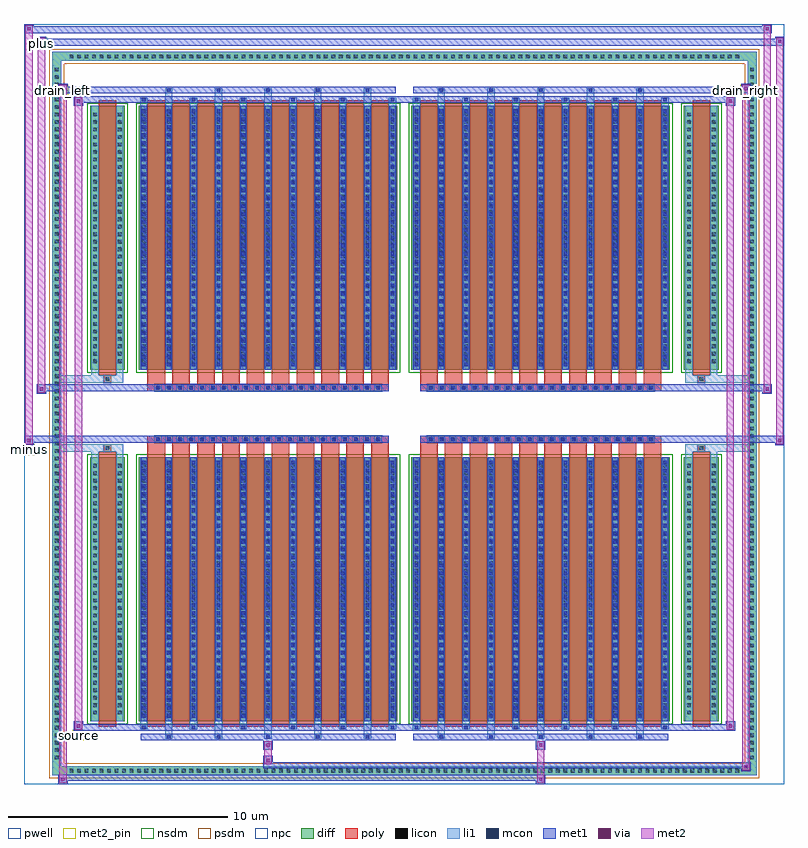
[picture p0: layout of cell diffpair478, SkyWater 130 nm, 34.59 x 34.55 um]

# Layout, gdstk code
import gdstk
lib = gdstk.Library(unit=1e-6, precision=5e-09)
def R(c, l, rs):  # rectangles x0, y0, x1, y1
    for r in rs: c.add(gdstk.rectangle(r[:2], r[2:], *l))
def A(c, l, x, y, w, h, nx, ny, dx, dy):  # array of equal rectangles
    R(c, l, [(x+i*dx, y+j*dy, x+i*dx+w, y+j*dy+h) for i in range(nx) for j in range(ny)])
def P(c, l, *ps):  # polygons
    for p in ps: c.add(gdstk.Polygon(p, *l))
pwell = (64, 44)
diff = (65, 20)
poly = (66, 20)
licon = (66, 44)
li1 = (67, 20)
mcon = (67, 44)
met1 = (68, 20)
via = (68, 44)
met2_pin = (69, 16)
met2 = (69, 20)
nsdm = (93, 44)
psdm = (94, 20)
npc = (95, 20)

diffpair478 = lib.new_cell('diffpair478')
R(diffpair478, pwell, [(-17.28,-16.84,17.28,17.71), (-14.6,-15.03,-0.01,-0.805), (0.01,-15.03,14.6,-0.805), (-14.6,0.805,-0.01,15.03), (0.01,0.805,14.6,15.03)])
A(diffpair478, diff, -15.335, -16.44, 0.41, 0.41, 90, 2, 0.34, 32.47)
A(diffpair478, diff, -16.01, -15.845, 0.41, 0.41, 1, 93, 0, 0.34)
A(diffpair478, diff, 15.6, -15.845, 0.41, 0.41, 1, 93, 0, 0.34)
R(diffpair478, diff, [(-15.335,-16.44,15.335,-16.03), (-16.01,-15.845,-15.6,15.845), (15.6,-15.845,16.01,15.845), (-14.29,-13.985,-12.71,-1.985), (-12.07,-13.985,-0.32,-1.985), (0.32,-13.985,12.07,-1.985), (12.71,-13.985,14.29,-1.985), (-14.29,1.985,-12.71,13.985), (-12.07,1.985,-0.32,13.985), (0.32,1.985,12.07,13.985), (12.71,1.985,14.29,13.985), (-15.335,16.03,15.335,16.44)])
P(diffpair478, diff, [(16.01,16.44),(-16.01,16.44),(-16.01,-16.03),(-15.6,-16.03),(-15.6,16.03),(15.6,16.03),(15.6,-16.03),(-15.6,-16.03),(-16.01,-16.03),(-16.01,-16.44),(16.01,-16.44)])
A(diffpair478, poly, -11.68, -14.235, 0.8, 12.5, 10, 2, 1.13, 15.97)
A(diffpair478, poly, 0.71, -14.235, 0.8, 12.5, 10, 2, 1.13, 15.97)
A(diffpair478, poly, -11.68, -1.735, 0.8, 0.4, 10, 2, 1.13, 3.07)
A(diffpair478, poly, 0.71, -1.735, 0.8, 0.4, 10, 2, 1.13, 3.07)
A(diffpair478, poly, -11.36, -1.335, 0.33, 0.33, 21, 2, 0.5, 2.34)
A(diffpair478, poly, 1.03, -1.335, 0.33, 0.33, 21, 2, 0.5, 2.34)
R(diffpair478, poly, [(-13.9,-14.235,-13.1,-1.735), (13.1,-14.235,13.9,-1.735), (-13.665,-1.735,-13.335,-1.405), (-13.665,-1.735,-13.335,-1.405), (13.335,-1.735,13.665,-1.405), (13.335,-1.735,13.665,-1.405), (-11.68,-1.335,-0.71,-1.005), (0.71,-1.335,11.68,-1.005), (-11.68,1.005,-0.71,1.335), (0.71,1.005,11.68,1.335), (-13.665,1.405,-13.335,1.735), (-13.665,1.405,-13.335,1.735), (13.335,1.405,13.665,1.735), (13.335,1.405,13.665,1.735), (-13.9,1.735,-13.1,14.235), (13.1,1.735,13.9,14.235)])
A(diffpair478, licon, -15.215, -16.32, 0.17, 0.17, 90, 2, 0.34, 32.47)
A(diffpair478, licon, -15.89, -15.725, 0.17, 0.17, 1, 93, 0, 0.34)
A(diffpair478, licon, 15.72, -15.725, 0.17, 0.17, 1, 93, 0, 0.34)
A(diffpair478, licon, -14.15, -13.68, 0.17, 0.17, 1, 34, 0, 0.34)
A(diffpair478, licon, -13.02, -13.68, 0.17, 0.17, 1, 34, 0, 0.34)
A(diffpair478, licon, -11.93, -13.68, 0.17, 0.17, 11, 34, 1.13, 0.34)
A(diffpair478, licon, 0.46, -13.68, 0.17, 0.17, 11, 34, 1.13, 0.34)
A(diffpair478, licon, 12.85, -13.68, 0.17, 0.17, 1, 34, 0, 0.34)
A(diffpair478, licon, 13.98, -13.68, 0.17, 0.17, 1, 34, 0, 0.34)
A(diffpair478, licon, -11.28, -1.255, 0.17, 0.17, 21, 2, 0.5, 2.34)
A(diffpair478, licon, 1.11, -1.255, 0.17, 0.17, 21, 2, 0.5, 2.34)
A(diffpair478, licon, -14.15, 2.29, 0.17, 0.17, 1, 34, 0, 0.34)
A(diffpair478, licon, -13.02, 2.29, 0.17, 0.17, 1, 34, 0, 0.34)
A(diffpair478, licon, -11.93, 2.29, 0.17, 0.17, 11, 34, 1.13, 0.34)
A(diffpair478, licon, 0.46, 2.29, 0.17, 0.17, 11, 34, 1.13, 0.34)
A(diffpair478, licon, 12.85, 2.29, 0.17, 0.17, 1, 34, 0, 0.34)
A(diffpair478, licon, 13.98, 2.29, 0.17, 0.17, 1, 34, 0, 0.34)
R(diffpair478, licon, [(-13.585,-1.655,-13.415,-1.485), (13.415,-1.655,13.585,-1.485), (-13.585,1.485,-13.415,1.655), (13.415,1.485,13.585,1.655)])
A(diffpair478, li1, -15.295, -16.4, 0.33, 0.33, 90, 2, 0.34, 32.47)
A(diffpair478, li1, -15.97, -15.805, 0.33, 0.33, 1, 93, 0, 0.34)
A(diffpair478, li1, 15.64, -15.805, 0.33, 0.33, 1, 93, 0, 0.34)
A(diffpair478, li1, -10.88, -14.79, 0.33, 0.805, 5, 2, 2.26, 28.775)
A(diffpair478, li1, -10.8, -14.79, 0.17, 0.17, 5, 2, 2.26, 29.41)
A(diffpair478, li1, 1.51, -14.79, 0.33, 0.805, 5, 2, 2.26, 28.775)
A(diffpair478, li1, 1.59, -14.79, 0.17, 0.17, 5, 2, 2.26, 29.41)
A(diffpair478, li1, -12.01, -14.36, 0.33, 0.375, 6, 2, 2.26, 28.345)
A(diffpair478, li1, -11.93, -14.36, 0.17, 0.17, 6, 2, 2.26, 28.55)
A(diffpair478, li1, 0.38, -14.36, 0.33, 0.375, 6, 2, 2.26, 28.345)
A(diffpair478, li1, 0.46, -14.36, 0.17, 0.17, 6, 2, 2.26, 28.55)
A(diffpair478, li1, -12.01, -13.985, 0.33, 12, 11, 2, 1.13, 15.97)
A(diffpair478, li1, 0.38, -13.985, 0.33, 12, 11, 2, 1.13, 15.97)
A(diffpair478, li1, -11.93, -13.83, 0.17, 0.17, 11, 33, 1.13, 0.36)
A(diffpair478, li1, -11.93, -13.83, 0.17, 11.69, 11, 2, 1.13, 15.97)
A(diffpair478, li1, 0.46, -13.83, 0.17, 0.17, 11, 33, 1.13, 0.36)
A(diffpair478, li1, 0.46, -13.83, 0.17, 11.69, 11, 2, 1.13, 15.97)
A(diffpair478, li1, -14.23, -13.76, 0.33, 0.33, 1, 34, 0, 0.34)
A(diffpair478, li1, -13.1, -13.76, 0.33, 0.33, 1, 34, 0, 0.34)
A(diffpair478, li1, -12.01, -13.76, 0.33, 0.33, 11, 34, 1.13, 0.34)
A(diffpair478, li1, 0.38, -13.76, 0.33, 0.33, 11, 34, 1.13, 0.34)
A(diffpair478, li1, 12.77, -13.76, 0.33, 0.33, 1, 34, 0, 0.34)
A(diffpair478, li1, 13.9, -13.76, 0.33, 0.33, 1, 34, 0, 0.34)
A(diffpair478, li1, -11.36, -1.335, 0.33, 0.33, 21, 2, 0.5, 2.34)
A(diffpair478, li1, 1.03, -1.335, 0.33, 0.33, 21, 2, 0.5, 2.34)
A(diffpair478, li1, -11.93, 2.14, 0.17, 0.17, 11, 33, 1.13, 0.36)
A(diffpair478, li1, 0.46, 2.14, 0.17, 0.17, 11, 33, 1.13, 0.36)
A(diffpair478, li1, -14.23, 2.21, 0.33, 0.33, 1, 34, 0, 0.34)
A(diffpair478, li1, -13.1, 2.21, 0.33, 0.33, 1, 34, 0, 0.34)
A(diffpair478, li1, -12.01, 2.21, 0.33, 0.33, 11, 34, 1.13, 0.34)
A(diffpair478, li1, 0.38, 2.21, 0.33, 0.33, 11, 34, 1.13, 0.34)
A(diffpair478, li1, 12.77, 2.21, 0.33, 0.33, 1, 34, 0, 0.34)
A(diffpair478, li1, 13.9, 2.21, 0.33, 0.33, 1, 34, 0, 0.34)
R(diffpair478, li1, [(-16.01,-16.44,-15.6,-16.03), (-16.01,-16.44,-15.6,-16.03), (-15.6,-16.44,15.6,-16.03), (15.6,-16.44,16.01,-16.03), (15.6,-16.44,16.01,-16.03), (-16.01,-16.03,-15.6,16.03), (15.6,-16.03,16.01,16.03), (-14.23,-13.985,-13.9,-1.985), (-13.1,-13.985,-12.77,-1.985), (12.77,-13.985,13.1,-1.985), (13.9,-13.985,14.23,-1.985), (-14.23,-1.985,-13.9,-1.405), (-13.1,-1.985,-12.77,-1.405), (12.77,-1.985,13.1,-1.405), (13.9,-1.985,14.23,-1.405), (-16.01,-1.735,-13.665,-1.405), (-14.23,-1.735,-13.665,-1.405), (-13.665,-1.735,-13.335,-1.405), (-13.335,-1.735,-12.77,-1.405), (12.77,-1.735,13.335,-1.405), (13.335,-1.735,13.665,-1.405), (13.335,-1.735,16.01,-1.405), (13.665,-1.735,14.23,-1.405), (-16.01,1.405,-13.665,1.735), (-14.23,1.405,-13.665,1.735), (-14.23,1.405,-13.9,1.985), (-13.665,1.405,-13.335,1.735), (-13.335,1.405,-12.77,1.735), (-13.1,1.405,-12.77,1.985), (12.77,1.405,13.335,1.735), (12.77,1.405,13.1,1.985), (13.335,1.405,13.665,1.735), (13.335,1.405,16.01,1.735), (13.665,1.405,14.23,1.735), (13.9,1.405,14.23,1.985), (-14.23,1.985,-13.9,13.985), (-13.1,1.985,-12.77,13.985), (12.77,1.985,13.1,13.985), (13.9,1.985,14.23,13.985), (-16.01,16.03,-15.6,16.44), (-16.01,16.03,-15.6,16.44), (-15.6,16.03,15.6,16.44), (15.6,16.03,16.01,16.44), (15.6,16.03,16.01,16.44)])
A(diffpair478, mcon, -10.8, -14.79, 0.17, 0.17, 5, 2, 2.26, 29.41)
A(diffpair478, mcon, 1.59, -14.79, 0.17, 0.17, 5, 2, 2.26, 29.41)
A(diffpair478, mcon, -11.93, -14.36, 0.17, 0.17, 6, 2, 2.26, 28.55)
A(diffpair478, mcon, 0.46, -14.36, 0.17, 0.17, 6, 2, 2.26, 28.55)
A(diffpair478, mcon, -11.93, -13.83, 0.17, 0.17, 11, 33, 1.13, 0.36)
A(diffpair478, mcon, 0.46, -13.83, 0.17, 0.17, 11, 33, 1.13, 0.36)
A(diffpair478, mcon, -11.28, -1.255, 0.17, 0.17, 21, 2, 0.5, 2.34)
A(diffpair478, mcon, 1.11, -1.255, 0.17, 0.17, 21, 2, 0.5, 2.34)
A(diffpair478, mcon, -11.93, 2.14, 0.17, 0.17, 11, 33, 1.13, 0.36)
A(diffpair478, mcon, 0.46, 2.14, 0.17, 0.17, 11, 33, 1.13, 0.36)
A(diffpair478, met1, -10.86, -14.85, 0.29, 0.29, 5, 2, 2.26, 29.41)
A(diffpair478, met1, 1.53, -14.85, 0.29, 0.29, 5, 2, 2.26, 29.41)
A(diffpair478, met1, -11.99, -14.42, 0.29, 0.29, 6, 2, 2.26, 28.55)
A(diffpair478, met1, 0.4, -14.42, 0.29, 0.29, 6, 2, 2.26, 28.55)
A(diffpair478, met1, -11.99, -13.985, 0.29, 12, 11, 2, 1.13, 15.97)
A(diffpair478, met1, 0.4, -13.985, 0.29, 12, 11, 2, 1.13, 15.97)
A(diffpair478, met1, -11.99, -13.89, 0.29, 0.29, 11, 33, 1.13, 0.36)
A(diffpair478, met1, 0.4, -13.89, 0.29, 0.29, 11, 33, 1.13, 0.36)
A(diffpair478, met1, -11.34, -1.315, 0.29, 0.29, 21, 2, 0.5, 2.34)
A(diffpair478, met1, 1.05, -1.315, 0.29, 0.29, 21, 2, 0.5, 2.34)
A(diffpair478, met1, -11.99, 2.08, 0.29, 0.29, 11, 33, 1.13, 0.36)
A(diffpair478, met1, 0.4, 2.08, 0.29, 0.29, 11, 33, 1.13, 0.36)
R(diffpair478, met1, [(-15.74,-16.84,-15.31,-16.41), (5.98,-16.84,6.41,-16.41), (-15.74,-16.7,6.41,-16.41), (15.31,-16.27,15.74,-15.84), (-6.41,-16.13,15.74,-15.84), (-6.41,-15.99,-5.98,-15.56), (-6.41,-15.28,-5.98,-14.85), (5.98,-15.28,6.41,-14.85), (-11.99,-14.85,-0.4,-14.56), (0.4,-14.85,11.99,-14.56), (-15.03,-14.42,-14.6,-13.99), (-15.03,-14.42,-11.99,-14.13), (-11.99,-14.42,-0.4,-14.13), (-0.4,-14.42,0.4,-14.13), (0.4,-14.42,11.99,-14.13), (11.99,-14.42,15.03,-14.13), (14.6,-14.42,15.03,-13.99), (-17.28,-1.435,-16.85,-1.005), (16.85,-1.435,17.28,-1.005), (-17.28,-1.335,-0.71,-1.005), (-11.68,-1.335,-0.71,-1.005), (0.71,-1.335,11.68,-1.005), (0.71,-1.335,17.28,-1.005), (-16.71,0.905,-16.28,1.335), (16.28,0.905,16.71,1.335), (-16.71,1.005,-11.68,1.335), (-11.68,1.005,-0.71,1.335), (0.71,1.005,11.68,1.335), (11.68,1.005,16.71,1.335), (-15.03,13.99,-14.6,14.42), (14.6,13.99,15.03,14.42), (-15.03,14.13,-11.99,14.42), (-11.99,14.13,-0.4,14.42), (-0.4,14.13,0.4,14.42), (0.4,14.13,11.99,14.42), (11.99,14.13,15.03,14.42), (-15.74,14.56,-15.31,14.99), (-15.74,14.56,-11.99,14.85), (-11.99,14.56,-0.4,14.85), (0.4,14.56,11.99,14.85), (11.99,14.56,15.74,14.85), (15.31,14.56,15.74,14.99), (-16.71,16.71,-16.28,17.14), (-16.71,16.71,-14.6,17.04), (-14.6,16.71,14.6,17.04), (14.6,16.71,17.28,17.04), (16.85,16.71,17.28,17.14), (-17.28,17.28,-16.85,17.71), (-17.28,17.28,-14.6,17.61), (-14.6,17.28,14.6,17.61), (14.6,17.28,16.71,17.61), (16.28,17.28,16.71,17.71)])
R(diffpair478, via, [(-15.6,-16.7,-15.45,-16.55), (6.12,-16.7,6.27,-16.55), (15.45,-16.13,15.6,-15.98), (-6.27,-15.85,-6.12,-15.7), (-6.27,-15.14,-6.12,-14.99), (6.12,-15.14,6.27,-14.99), (-14.89,-14.28,-14.74,-14.13), (14.74,-14.28,14.89,-14.13), (-17.14,-1.295,-16.99,-1.145), (16.99,-1.295,17.14,-1.145), (-16.57,1.045,-16.42,1.195), (16.42,1.045,16.57,1.195), (-14.89,14.13,-14.74,14.28), (14.74,14.13,14.89,14.28), (-15.6,14.7,-15.45,14.85), (15.45,14.7,15.6,14.85), (-16.57,16.85,-16.42,17), (16.99,16.85,17.14,17), (-17.14,17.42,-16.99,17.57), (16.42,17.42,16.57,17.57)])
R(diffpair478, met2_pin, [(-15.065,-14.87,-14.565,-14.37), (-17.315,-1.885,-16.815,-1.385), (-15.775,14.44,-15.275,14.94), (15.275,14.44,15.775,14.94), (-16.745,16.59,-16.245,17.09)])
R(diffpair478, met2, [(-15.69,-16.79,-15.36,-16.46), (-15.69,-16.79,-15.36,14.94), (6.03,-16.79,6.36,-16.46), (6.03,-16.46,6.36,-15.23), (15.36,-16.22,15.69,-15.89), (15.36,-16.22,15.69,14.94), (-6.36,-15.94,-6.03,-15.61), (-6.36,-15.61,-6.03,-15.23), (-6.36,-15.23,-6.03,-14.9), (6.03,-15.23,6.36,-14.9), (-14.98,-14.37,-14.65,-14.04), (-14.98,-14.37,-14.65,14.37), (14.65,-14.37,14.98,-14.04), (14.65,-14.37,14.98,14.37), (-17.23,-1.385,-16.9,-1.055), (-17.23,-1.385,-16.9,17.66), (16.9,-1.385,17.23,-1.055), (16.9,-1.385,17.23,17.09), (-16.66,0.955,-16.33,1.285), (-16.66,0.955,-16.33,17.09), (16.33,0.955,16.66,1.285), (16.33,0.955,16.66,17.66), (-14.98,14.04,-14.65,14.37), (14.65,14.04,14.98,14.37), (-15.69,14.61,-15.36,14.94), (15.36,14.61,15.69,14.94), (-16.66,16.76,-16.33,17.09), (16.9,16.76,17.23,17.09), (-17.23,17.33,-16.9,17.66), (16.33,17.33,16.66,17.66)])
P(diffpair478, met2, [(17.23,-1.385),(17.23,-1.385),(17.23,-1.055),(17.23,-1.055)],
  [(17.23,16.76),(17.23,16.76),(17.23,17.09),(17.23,17.09)],
  [(-16.9,-1.385),(-16.9,-1.385),(-16.9,-1.055),(-16.9,-1.055)],
  [(-16.9,17.33),(-16.9,17.33),(-16.9,17.66),(-16.9,17.66)],
  [(16.66,0.955),(16.66,0.955),(16.66,1.285),(16.66,1.285)],
  [(16.66,17.33),(16.66,17.33),(16.66,17.66),(16.66,17.66)],
  [(-16.33,0.955),(-16.33,0.955),(-16.33,1.285),(-16.33,1.285)],
  [(-16.33,16.76),(-16.33,16.76),(-16.33,17.09),(-16.33,17.09)],
  [(-15.36,-16.79),(-15.36,-16.79),(-15.36,-16.46),(-15.36,-16.46)],
  [(-15.36,14.61),(-15.36,14.61),(-15.36,14.94),(-15.36,14.94)],
  [(15.69,-16.22),(15.69,-16.22),(15.69,-15.89),(15.69,-15.89)],
  [(15.69,14.61),(15.69,14.61),(15.69,14.94),(15.69,14.94)],
  [(-14.65,-14.37),(-14.65,-14.37),(-14.65,-14.04),(-14.65,-14.04)],
  [(-14.65,14.04),(-14.65,14.04),(-14.65,14.37),(-14.65,14.37)],
  [(14.98,-14.37),(14.98,-14.37),(14.98,-14.04),(14.98,-14.04)],
  [(14.98,14.04),(14.98,14.04),(14.98,14.37),(14.98,14.37)])
R(diffpair478, nsdm, [(-14.42,-14.115,-12.58,-1.855), (-12.2,-14.115,-0.19,-1.855), (0.19,-14.115,12.2,-1.855), (12.58,-14.115,14.42,-1.855), (-14.42,1.855,-12.58,14.115), (-12.2,1.855,-0.19,14.115), (0.19,1.855,12.2,14.115), (12.58,1.855,14.42,14.115)])
P(diffpair478, psdm, [(16.14,16.57),(-16.14,16.57),(-16.14,-15.9),(-15.47,-15.9),(-15.47,15.9),(15.47,15.9),(15.47,-15.9),(-15.47,-15.9),(-16.14,-15.9),(-16.14,-16.57),(16.14,-16.57)])
A(diffpair478, npc, -11.38, -1.355, 0.37, 0.37, 21, 2, 0.5, 2.34)
A(diffpair478, npc, 1.01, -1.355, 0.37, 0.37, 21, 2, 0.5, 2.34)
R(diffpair478, npc, [(-13.685,-1.755,-13.315,-1.385), (13.315,-1.755,13.685,-1.385), (-11.38,-1.355,-10.51,-0.985), (-11.38,-1.355,-10.51,-0.985), (-10.88,-1.355,-10.01,-0.985), (-10.88,-1.355,-10.01,-0.985), (-10.38,-1.355,-9.51,-0.985), (-10.38,-1.355,-9.51,-0.985), (-9.88,-1.355,-9.01,-0.985), (-9.88,-1.355,-9.01,-0.985), (-9.38,-1.355,-8.51,-0.985), (-9.38,-1.355,-8.51,-0.985), (-8.88,-1.355,-8.01,-0.985), (-8.88,-1.355,-8.01,-0.985), (-8.38,-1.355,-7.51,-0.985), (-8.38,-1.355,-7.51,-0.985), (-7.88,-1.355,-7.01,-0.985), (-7.88,-1.355,-7.01,-0.985), (-7.38,-1.355,-6.51,-0.985), (-7.38,-1.355,-6.51,-0.985), (-6.88,-1.355,-6.01,-0.985), (-6.88,-1.355,-6.01,-0.985), (-6.38,-1.355,-5.51,-0.985), (-6.38,-1.355,-5.51,-0.985), (-5.88,-1.355,-5.01,-0.985), (-5.88,-1.355,-5.01,-0.985), (-5.38,-1.355,-4.51,-0.985), (-5.38,-1.355,-4.51,-0.985), (-4.88,-1.355,-4.01,-0.985), (-4.88,-1.355,-4.01,-0.985), (-4.38,-1.355,-3.51,-0.985), (-4.38,-1.355,-3.51,-0.985), (-3.88,-1.355,-3.01,-0.985), (-3.88,-1.355,-3.01,-0.985), (-3.38,-1.355,-2.51,-0.985), (-3.38,-1.355,-2.51,-0.985), (-2.88,-1.355,-2.01,-0.985), (-2.88,-1.355,-2.01,-0.985), (-2.38,-1.355,-1.51,-0.985), (-2.38,-1.355,-1.51,-0.985), (-1.88,-1.355,-1.01,-0.985), (-1.88,-1.355,-1.01,-0.985), (1.01,-1.355,1.88,-0.985), (1.01,-1.355,1.88,-0.985), (1.51,-1.355,2.38,-0.985), (1.51,-1.355,2.38,-0.985), (2.01,-1.355,2.88,-0.985), (2.01,-1.355,2.88,-0.985), (2.51,-1.355,3.38,-0.985), (2.51,-1.355,3.38,-0.985), (3.01,-1.355,3.88,-0.985), (3.01,-1.355,3.88,-0.985), (3.51,-1.355,4.38,-0.985), (3.51,-1.355,4.38,-0.985), (4.01,-1.355,4.88,-0.985), (4.01,-1.355,4.88,-0.985), (4.51,-1.355,5.38,-0.985), (4.51,-1.355,5.38,-0.985), (5.01,-1.355,5.88,-0.985), (5.01,-1.355,5.88,-0.985), (5.51,-1.355,6.38,-0.985), (5.51,-1.355,6.38,-0.985), (6.01,-1.355,6.88,-0.985), (6.01,-1.355,6.88,-0.985), (6.51,-1.355,7.38,-0.985), (6.51,-1.355,7.38,-0.985), (7.01,-1.355,7.88,-0.985), (7.01,-1.355,7.88,-0.985), (7.51,-1.355,8.38,-0.985), (7.51,-1.355,8.38,-0.985), (8.01,-1.355,8.88,-0.985), (8.01,-1.355,8.88,-0.985), (8.51,-1.355,9.38,-0.985), (8.51,-1.355,9.38,-0.985), (9.01,-1.355,9.88,-0.985), (9.01,-1.355,9.88,-0.985), (9.51,-1.355,10.38,-0.985), (9.51,-1.355,10.38,-0.985), (10.01,-1.355,10.88,-0.985), (10.01,-1.355,10.88,-0.985), (10.51,-1.355,11.38,-0.985), (10.51,-1.355,11.38,-0.985), (-11.38,0.985,-10.51,1.355), (-11.38,0.985,-10.51,1.355), (-10.88,0.985,-10.01,1.355), (-10.88,0.985,-10.01,1.355), (-10.38,0.985,-9.51,1.355), (-10.38,0.985,-9.51,1.355), (-9.88,0.985,-9.01,1.355), (-9.88,0.985,-9.01,1.355), (-9.38,0.985,-8.51,1.355), (-9.38,0.985,-8.51,1.355), (-8.88,0.985,-8.01,1.355), (-8.88,0.985,-8.01,1.355), (-8.38,0.985,-7.51,1.355), (-8.38,0.985,-7.51,1.355), (-7.88,0.985,-7.01,1.355), (-7.88,0.985,-7.01,1.355), (-7.38,0.985,-6.51,1.355), (-7.38,0.985,-6.51,1.355), (-6.88,0.985,-6.01,1.355), (-6.88,0.985,-6.01,1.355), (-6.38,0.985,-5.51,1.355), (-6.38,0.985,-5.51,1.355), (-5.88,0.985,-5.01,1.355), (-5.88,0.985,-5.01,1.355), (-5.38,0.985,-4.51,1.355), (-5.38,0.985,-4.51,1.355), (-4.88,0.985,-4.01,1.355), (-4.88,0.985,-4.01,1.355), (-4.38,0.985,-3.51,1.355), (-4.38,0.985,-3.51,1.355), (-3.88,0.985,-3.01,1.355), (-3.88,0.985,-3.01,1.355), (-3.38,0.985,-2.51,1.355), (-3.38,0.985,-2.51,1.355), (-2.88,0.985,-2.01,1.355), (-2.88,0.985,-2.01,1.355), (-2.38,0.985,-1.51,1.355), (-2.38,0.985,-1.51,1.355), (-1.88,0.985,-1.01,1.355), (-1.88,0.985,-1.01,1.355), (1.01,0.985,1.88,1.355), (1.01,0.985,1.88,1.355), (1.51,0.985,2.38,1.355), (1.51,0.985,2.38,1.355), (2.01,0.985,2.88,1.355), (2.01,0.985,2.88,1.355), (2.51,0.985,3.38,1.355), (2.51,0.985,3.38,1.355), (3.01,0.985,3.88,1.355), (3.01,0.985,3.88,1.355), (3.51,0.985,4.38,1.355), (3.51,0.985,4.38,1.355), (4.01,0.985,4.88,1.355), (4.01,0.985,4.88,1.355), (4.51,0.985,5.38,1.355), (4.51,0.985,5.38,1.355), (5.01,0.985,5.88,1.355), (5.01,0.985,5.88,1.355), (5.51,0.985,6.38,1.355), (5.51,0.985,6.38,1.355), (6.01,0.985,6.88,1.355), (6.01,0.985,6.88,1.355), (6.51,0.985,7.38,1.355), (6.51,0.985,7.38,1.355), (7.01,0.985,7.88,1.355), (7.01,0.985,7.88,1.355), (7.51,0.985,8.38,1.355), (7.51,0.985,8.38,1.355), (8.01,0.985,8.88,1.355), (8.01,0.985,8.88,1.355), (8.51,0.985,9.38,1.355), (8.51,0.985,9.38,1.355), (9.01,0.985,9.88,1.355), (9.01,0.985,9.88,1.355), (9.51,0.985,10.38,1.355), (9.51,0.985,10.38,1.355), (10.01,0.985,10.88,1.355), (10.01,0.985,10.88,1.355), (10.51,0.985,11.38,1.355), (10.51,0.985,11.38,1.355), (-13.685,1.385,-13.315,1.755), (13.315,1.385,13.685,1.755)])
diffpair478.add(gdstk.Label('minus', (-17.065,-1.635), layer=69, texttype=5))
diffpair478.add(gdstk.Label('drain_right', (15.525,14.69), layer=69, texttype=5))
diffpair478.add(gdstk.Label('drain_left', (-15.525,14.69), layer=69, texttype=5))
diffpair478.add(gdstk.Label('source', (-14.815,-14.62), layer=69, texttype=5))
diffpair478.add(gdstk.Label('plus', (-16.495,16.84), layer=69, texttype=5))

lib.write_gds('diffpair478.gds')
